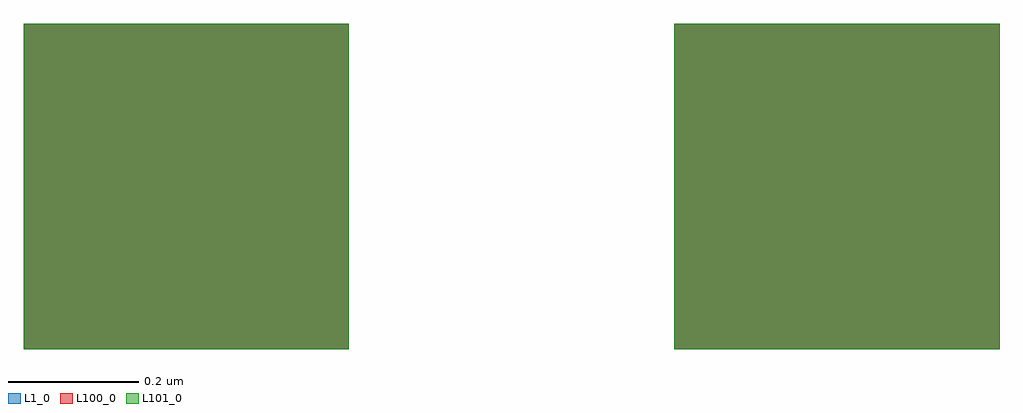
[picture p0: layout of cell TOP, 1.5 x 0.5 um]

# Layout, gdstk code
import gdstk
lib = gdstk.Library(unit=1e-6, precision=1e-09)
def R(c, l, rs):  # rectangles x0, y0, x1, y1
    for r in rs: c.add(gdstk.rectangle(r[:2], r[2:], *l))
L1_0 = (1, 0)
L100_0 = (100, 0)
L101_0 = (101, 0)

top = lib.new_cell('TOP')
R(top, L1_0, [(-0.5,0,0,0.5), (0.5,0,1,0.5)])
R(top, L100_0, [(-0.5,0,0,0.5), (0.5,0,1,0.5)])
R(top, L101_0, [(-0.5,0,0,0.5), (0.5,0,1,0.5)])

lib.write_gds('TOP.gds')
